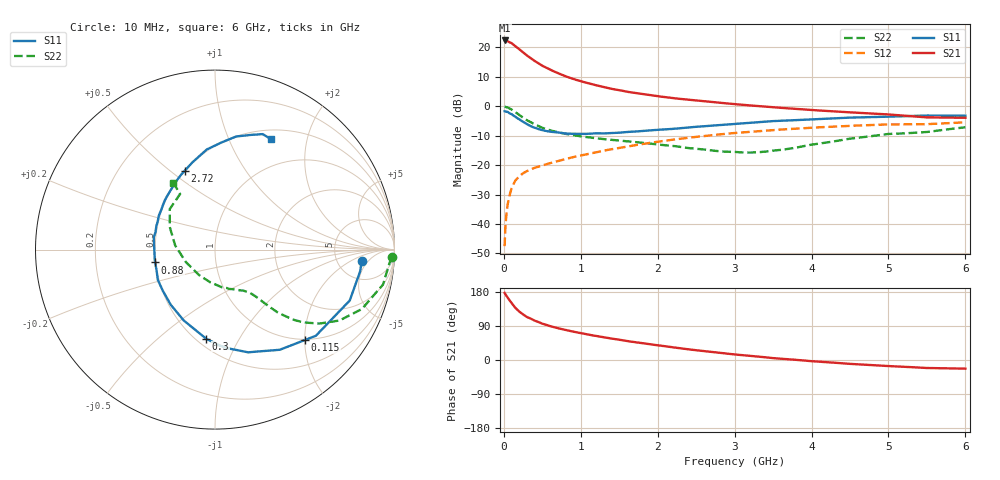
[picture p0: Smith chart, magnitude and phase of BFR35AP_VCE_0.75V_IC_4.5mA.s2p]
! Infineon Technologies  Discrete & RF Semiconductors
! BFR35AP
! VCE = 0.75 V,  IC =  4.5 mA
! Common Emitter S-Parameters:  Nov 2015
# GHz  S  MA  R  50
!  f  S11  S21  S12  S22
! GHz  MAG  ANG  MAG  ANG  MAG  ANG  MAG  ANG
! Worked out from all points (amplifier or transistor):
!   210 points, 10 MHz to 6 GHz, reference 50 ohm
!   highest |S21| = 22.4 dB at 10 MHz (marker M1)
!   |S21| within 3 dB of that: start of sweep to 203.1 MHz
!   unconditionally stable (mu >= 1): 728.8 MHz to end of sweep
!   at 185 MHz: K = 0.38, MSG = 22.0 dB, |S12| = -24.2 dB
!   at 1.52 GHz: K = 1.20, MAG = 7.0 dB, |S12| = -14.0 dB
!   at 6 GHz: K = 1.05, MAG = -0.6 dB, |S12| = -5.5 dB
!   S11 on the Smith chart (normalised r, x): 10 MHz: 8.86, -3.33; 115 MHz: 0.99, -2.01; 300 MHz: 0.56, -0.73; 880 MHz: 0.50, -0.08; 2.72 GHz: 0.50, +0.56; 6 GHz: 0.62, +1.45
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0.01  0.8202 -4.3  13.11 177.0  0.0042 87.2  0.9851 -2.4
0.025  0.8127 -10.5  12.88 172.0  0.0108 82.8  0.9702 -5.8
0.05  0.8025 -20.7  12.72 164.3  0.0216 78.7  0.9565 -11.7
0.1  0.7391 -40.5  11.85 150.0  0.04 69.7  0.8832 -22.0
0.115  0.7108 -45.1  11.39 146.6  0.0443 66.9  0.856 -24.1
0.15  0.6647 -57.1  10.49 137.5  0.0548 62.1  0.7977 -29.7
0.2  0.6013 -72.1  9.356 127.8  0.0645 57.0  0.7129 -35.3
0.24  0.5548 -82.5  8.449 121.5  0.071 53.8  0.6525 -38.6
0.3  0.4981 -95.8  7.28 113.4  0.0791 51.6  0.5793 -42.1
0.4  0.4316 -113.8  5.892 103.9  0.09 49.1  0.494 -45.1
0.5  0.394 -128.7  4.88 95.8  0.0987 48.7  0.4303 -46.7
0.6  0.3704 -141.7  4.183 89.5  0.108 48.9  0.3897 -47.7
0.7  0.3604 -152.1  3.657 84.0  0.1168 49.2  0.3621 -48.4
0.88  0.3409 -167.9  2.975 75.8  0.1346 49.5  0.3263 -49.9
1.02  0.3384 -179.1  2.618 70.1  0.1476 49.9  0.3061 -51.4
1.4  0.3523 158.1  1.978 56.6  0.1862 49.3  0.2693 -57.7
2.02  0.399 132.3  1.472 38.3  0.252 45.2  0.2226 -73.6
2.72  0.4702 111.1  1.174 20.9  0.3241 37.8  0.1763 -104.4
3.1  0.5124 102.4  1.06 12.9  0.3594 32.9  0.1642 -128.9
4.1  0.6064 84.9  0.847 -4.4  0.439 19.8  0.2318 169.3
5.1  0.6707 72.4  0.71 -16.9  0.4918 6.5  0.3417 134.7
6  0.69 63.0  0.637 -22.8  0.5332 -2.9  0.4393 122.0
